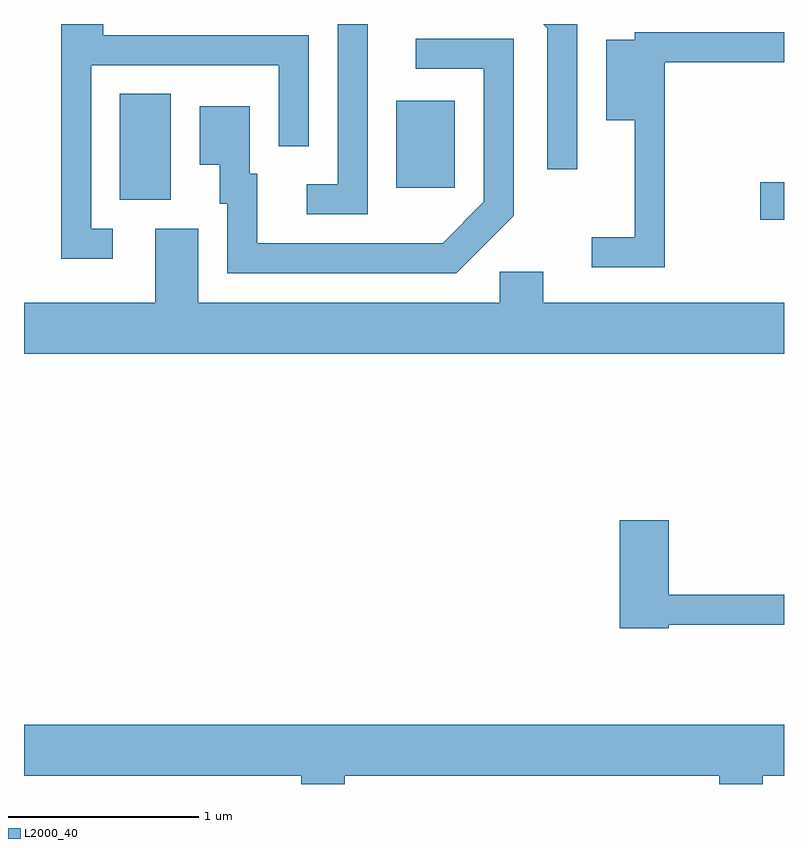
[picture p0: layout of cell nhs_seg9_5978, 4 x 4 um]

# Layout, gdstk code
import gdstk
lib = gdstk.Library(unit=1e-6, precision=1e-09)
def R(c, l, rs):  # rectangles x0, y0, x1, y1
    for r in rs: c.add(gdstk.rectangle(r[:2], r[2:], *l))
def P(c, l, *ps):  # polygons
    for p in ps: c.add(gdstk.Polygon(p, *l))
L2000_40 = (2000, 40)

nhs_seg9_5978 = lib.new_cell('nhs_seg9_5978')
R(nhs_seg9_5978, L2000_40, [(365.486,2001.401,365.611,2001.599), (362.116,2001.506,362.384,2002.064), (363.571,2001.571,363.879,2002.029)])
P(nhs_seg9_5978, L2000_40, [(363.419,2002.432),(363.261,2002.432),(363.261,2001.589),(363.098,2001.589),(363.098,2001.431),(363.419,2001.431)],
  [(364.524,2002.432),(364.343,2002.432),(364.366,2002.409),(364.366,2001.668),(364.524,2001.668)],
  [(362.078,2001.354),(361.964,2001.354),(361.964,2002.216),(362.951,2002.216),(362.951,2001.788),(363.109,2001.788),(363.109,2002.374),(362.029,2002.374),(362.029,2002.432),(361.806,2002.432),(361.806,2001.196),(362.078,2001.196)],
  [(364.984,2002.231),(365.611,2002.231),(365.611,2002.389),(364.826,2002.389),(364.826,2002.349),(364.676,2002.349),(364.676,2001.926),(364.826,2001.926),(364.826,2001.309),(364.598,2001.309),(364.598,2001.151),(364.984,2001.151)],
  [(364.189,2001.424),(364.189,2002.354),(363.673,2002.354),(363.673,2002.196),(364.031,2002.196),(364.031,2001.497),(363.814,2001.279),(362.839,2001.279),(362.839,2001.644),(362.799,2001.644),(362.799,2001.999),(362.536,2001.999),(362.536,2001.691),(362.641,2001.691),(362.641,2001.486),(362.681,2001.486),(362.681,2001.121),(363.887,2001.121)],
  [(365.611,2000.964),(364.344,2000.964),(364.344,2001.129),(364.116,2001.129),(364.116,2000.964),(362.529,2000.964),(362.529,2001.354),(362.301,2001.354),(362.301,2000.964),(361.611,2000.964),(361.611,2000.696),(365.611,2000.696)],
  [(365.004,1999.271),(365.611,1999.271),(365.611,1999.429),(365.004,1999.429),(365.004,1999.819),(364.746,1999.819),(364.746,1999.251),(365.004,1999.251)],
  [(363.299,1998.476),(365.271,1998.476),(365.271,1998.432),(365.499,1998.432),(365.499,1998.476),(365.611,1998.476),(365.611,1998.744),(361.611,1998.744),(361.611,1998.476),(363.071,1998.476),(363.071,1998.432),(363.299,1998.432)])

lib.write_gds('nhs_seg9_5978.gds')
